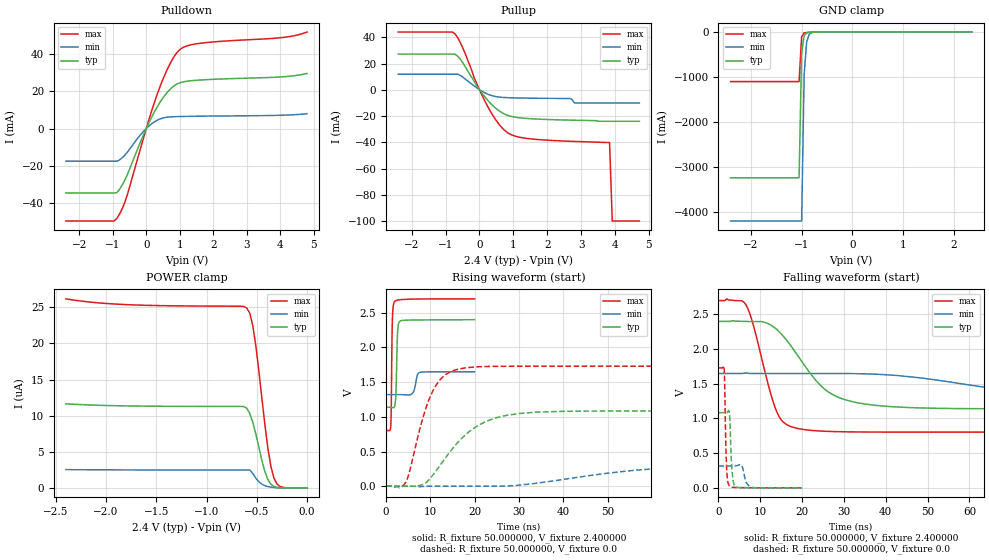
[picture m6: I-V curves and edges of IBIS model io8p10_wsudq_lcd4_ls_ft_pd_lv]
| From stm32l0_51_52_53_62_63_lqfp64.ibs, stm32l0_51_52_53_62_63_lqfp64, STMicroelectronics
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|   Model io8p10_wsudq_lcd4_ls_ft_pd_lv
[Model]  io8p10_wsudq_lcd4_ls_ft_pd_lv
Model_type I/O
Polarity   Non-Inverting
Enable   Active-Low
Vinl =   0.720000V
Vinh =   1.680000V
Vmeas =  1.200000V
Cref =   50.000000pF
Rref =   100.000000M
Vref =   0.0V
C_comp   3.178800pF   3.170000pF   3.206700pF
[Temperature Range]   25.000000   0.105000k   -40.000000
[Pullup Reference]   2.400000V   1.650000V   2.700000V
[Pulldown Reference]   0.0V   0.0V   0.0V
[POWER Clamp Reference]   2.400000V   1.650000V   2.700000V
[GND Clamp Reference]   0.0V   0.0V   0.0V
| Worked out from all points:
|   slope of the pulldown table from 0 to 0.36 V, typ, clamps not added: 28.5 ohm
|   slope of the pullup table from 0 to 0.36 V, typ, clamps not added: 32.2 ohm
|   GND clamp passes 1 mA (typ) near -0.64 V on its own axis
|   rising waveform, R_fixture 50.000000, V_fixture 2.400000: 20-80 % time 297ps typ, 642ps min, 211ps max; typ from 1.14 V to 2.4 V
|   rising waveform, R_fixture 50.000000, V_fixture 0.0: 20-80 % time 9.36ns typ, 24.7ns min, 4.83ns max; typ from 0 V to 1.08 V
|   falling waveform, R_fixture 50.000000, V_fixture 2.400000: 20-80 % time 10ns typ, 26.8ns min, 4.95ns max; typ from 2.4 V to 1.14 V
|   falling waveform, R_fixture 50.000000, V_fixture 0.0: 20-80 % time 489ps typ, 856ps min, 390ps max; typ from 1.08 V to 0 V
[Pulldown]
|Voltage   I(typ)   I(min)   I(max)
-2.4V     -34.71mA   -17.6mA    -49.82mA
-960mV    -34.71mA   -17.6mA    -49.82mA
-880mV    -34.55mA   -17.6mA    -48.46mA
-720mV    -30.52mA   -15.8mA    -43.27mA
-560mV    -24.65mA   -12.68mA   -35.33mA
0V        326fA      0A         140fA
400mV     13.84mA    5.066mA    22.03mA
720mV     21.25mA    6.254mA    35.26mA
1.04V     24.83mA    6.464mA    43.03mA
1.6V      26.11mA    6.627mA    45.88mA
4V        27.76mA    7.125mA    48.88mA
4.8V      29.63mA    7.94mA     51.96mA
[Pullup]
|Voltage   I(typ)   I(min)   I(max)
-2.4V     27.2mA     11.88mA    44.01mA
-720mV    27.06mA    11.88mA    42.53mA
-480mV    20.06mA    9.358mA    31.11mA
-160mV    6.59mA     3.051mA    9.467mA
240mV     -7.917mA   -3.299mA   -12.65mA
560mV     -15.67mA   -5.496mA   -25.76mA
880mV     -19.92mA   -6.062mA   -33.51mA
1.68V     -22.29mA   -6.449mA   -37.81mA
2.8V      -23.2mA    -10mA      -39.35mA
3.84V     -24mA      -10mA      -40.2mA
3.92V     -24mA      -10mA      -100mA
4.72V     -24mA      -10mA      -100mA
[GND_clamp]
|Voltage   I(typ)   I(min)   I(max)
-2.4V     -3.238A    -4.199A    -1.101A
-1.05V    -3.238A    -4.199A    -1.101A
-1V       -476.5mA   -4.199A    -104.7mA
-950mV    -76.69mA   -936.1mA   -18.75mA
-900mV    -16.87mA   -213.2mA   -9.366mA
-850mV    -6.718mA   -51.14mA   -6.786mA
-800mV    -4.121mA   -13.93mA   -5.004mA
-650mV    -1.082mA   -1.228mA   -1.183mA
2.35V     52.69uA    50.02uA    36.84uA
[POWER_clamp]
|Voltage   I(typ)   I(min)   I(max)
-2.4V     11.64uA    2.527uA    26.18uA
-1.86V    11.37uA    2.49uA     25.43uA
-600mV    11.04uA    2.475uA    24.9uA
-570mV    10.3uA     2.473uA    24.21uA
-540mV    9.097uA    2.001uA    22.48uA
-510mV    7.497uA    1.351uA    19.73uA
-450mV    3.846uA    513.2nA    12.52uA
-390mV    1.155uA    176.1nA    5.528uA
-360mV    508.6nA    103.4nA    2.997uA
-330mV    204.7nA    61.05nA    1.375uA
-270mV    0A         0A         195.3nA
0V        0A         0A         0A
[Ramp]
| variable   typ   min   max
dV/dt_r  0.65004/9.35231n   0.18967/24.62684n   1.03746/4.82050n
dV/dt_f  0.75702/10.03401n   0.19716/26.72500n   1.13800/4.93386n
R_load = 50.000000
[Rising Waveform]
R_fixture= 50.000000
V_fixture= 2.400000
V_fixture_min= 1.650000
V_fixture_max= 2.700000
|time   V(typ)   V(min)   V(max)
0s        1.137V     1.32V      802.9mV
1.041ns   1.137V     1.32V      868.3mV
1.161ns   1.136V     1.32V      1.178V
1.401ns   1.133V     1.32V      2.39V
1.882ns   1.147V     1.32V      2.657V
2.202ns   1.334V     1.32V      2.675V
2.603ns   2.239V     1.32V      2.682V
3.043ns   2.373V     1.32V      2.686V
7.688ns   2.395V     1.641V     2.698V
19.94ns   2.399V     1.649V     2.7V
[Rising Waveform]
R_fixture= 50.000000
V_fixture= 0.0
V_fixture_min= 0.0
V_fixture_max= 0.0
|time   V(typ)   V(min)   V(max)
0s        -626.9nV   -3.014uV   -476.7nV
4.505ns   -920.6uV   97.65uV    64.76mV
8.509ns   32.84mV    -974.9uV   1.031V
11.51ns   242.4mV    -198.5uV   1.477V
14.01ns   462.1mV    -200.1uV   1.631V
18.02ns   746.7mV    -178.2uV   1.707V
26.53ns   1.011V     1.728mV    1.728V
40.04ns   1.079V     98.18mV    1.729V
80.08ns   1.083V     301.8mV    1.729V
249.2ns   1.083V     316.1mV    1.729V
[Falling Waveform]
R_fixture= 50.000000
V_fixture= 2.400000
V_fixture_min= 1.650000
V_fixture_max= 2.700000
|time   V(typ)   V(min)   V(max)
0s        2.399V     1.649V     2.7V
6.507ns   2.399V     1.655V     2.644V
8.008ns   2.397V     1.649V     2.413V
14.01ns   2.279V     1.648V     1.085V
16.02ns   2.149V     1.648V     922.7mV
20.52ns   1.77V      1.648V     839.3mV
28.53ns   1.309V     1.648V     810mV
45.05ns   1.159V     1.605V     803.2mV
90.59ns   1.137V     1.348V     802.9mV
249.2ns   1.137V     1.32V      802.9mV
[Falling Waveform]
R_fixture= 50.000000
V_fixture= 0.0
V_fixture_min= 0.0
V_fixture_max= 0.0
|time   V(typ)   V(min)   V(max)
0s        1.083V     316.1mV    1.729V
1.321ns   1.083V     316.1mV    1.743V
1.441ns   1.083V     316.1mV    1.591V
1.722ns   1.083V     316.1mV    696.1mV
1.922ns   1.083V     316.1mV    321.3mV
2.563ns   1.095V     316.1mV    32.36mV
3.203ns   275.9mV    315.9mV    9.691mV
3.924ns   23.88mV    315.9mV    5.439mV
7.928ns   1.334mV    8.839mV    1.37mV
19.94ns   -626.9nV   -3.014uV   -476.7nV
